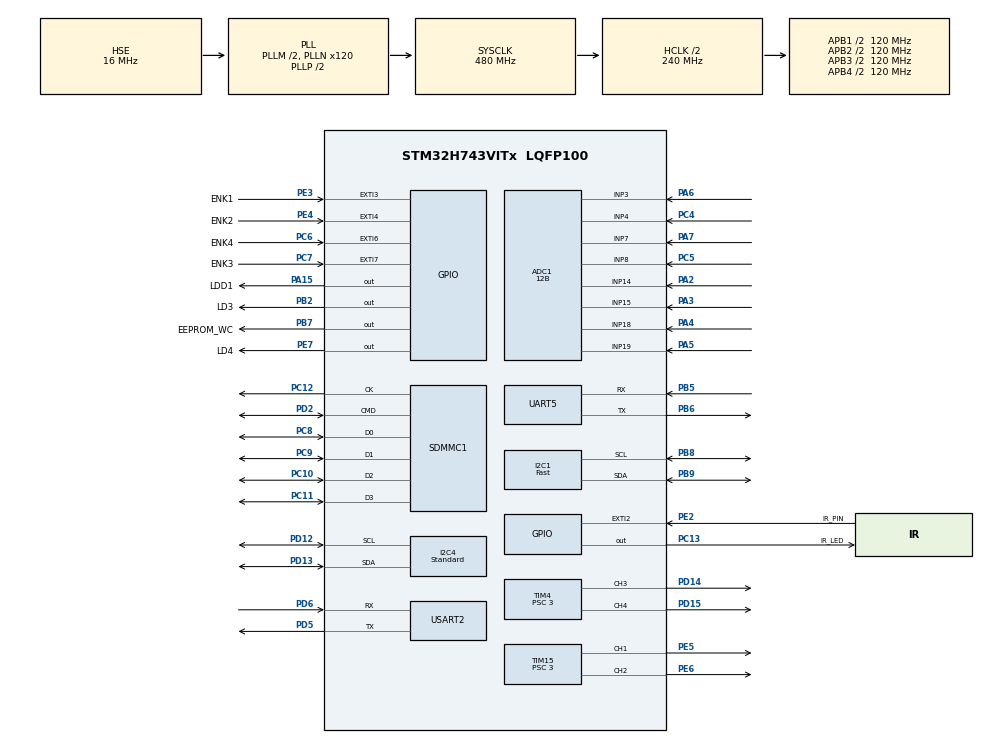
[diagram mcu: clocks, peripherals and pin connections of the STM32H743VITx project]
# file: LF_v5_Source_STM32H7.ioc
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ADC1.Channel-10\#ChannelRegularConversion=ADC_CHANNEL_18
ADC1.Channel-11\#ChannelRegularConversion=ADC_CHANNEL_19
ADC1.Channel-12\#ChannelRegularConversion=ADC_CHANNEL_3
ADC1.Channel-13\#ChannelRegularConversion=ADC_CHANNEL_7
ADC1.Channel-14\#ChannelRegularConversion=ADC_CHANNEL_4
ADC1.Channel-15\#ChannelRegularConversion=ADC_CHANNEL_8
ADC1.Channel-8\#ChannelRegularConversion=ADC_CHANNEL_14
ADC1.Channel-9\#ChannelRegularConversion=ADC_CHANNEL_15
ADC1.ClockPrescaler=ADC_CLOCK_ASYNC_DIV6
ADC1.ContinuousConvMode=ENABLE
ADC1.ConversionDataManagement=ADC_CONVERSIONDATA_DMA_CIRCULAR
ADC1.EnableInjectedConversion=ENABLE
ADC1.NbrOfConversion=8
ADC1.NbrOfConversionFlag=1
ADC1.OffsetNumber-10\#ChannelRegularConversion=ADC_OFFSET_NONE
ADC1.OffsetNumber-11\#ChannelRegularConversion=ADC_OFFSET_NONE
ADC1.OffsetNumber-12\#ChannelRegularConversion=ADC_OFFSET_NONE
ADC1.OffsetNumber-13\#ChannelRegularConversion=ADC_OFFSET_NONE
ADC1.OffsetNumber-14\#ChannelRegularConversion=ADC_OFFSET_NONE
ADC1.OffsetNumber-15\#ChannelRegularConversion=ADC_OFFSET_NONE
ADC1.OffsetNumber-8\#ChannelRegularConversion=ADC_OFFSET_NONE
ADC1.OffsetNumber-9\#ChannelRegularConversion=ADC_OFFSET_NONE
ADC1.Overrun=ADC_OVR_DATA_OVERWRITTEN
ADC1.OversamplingMode=DISABLE
ADC1.Rank-10\#ChannelRegularConversion=3
ADC1.Rank-11\#ChannelRegularConversion=4
ADC1.Rank-12\#ChannelRegularConversion=5
ADC1.Rank-13\#ChannelRegularConversion=6
ADC1.Rank-14\#ChannelRegularConversion=7
ADC1.Rank-15\#ChannelRegularConversion=8
ADC1.Rank-8\#ChannelRegularConversion=1
ADC1.Rank-9\#ChannelRegularConversion=2
ADC1.Resolution=ADC_RESOLUTION_12B
ADC1.SamplingTime-10\#ChannelRegularConversion=ADC_SAMPLETIME_16CYCLES_5
ADC1.SamplingTime-11\#ChannelRegularConversion=ADC_SAMPLETIME_16CYCLES_5
ADC1.SamplingTime-12\#ChannelRegularConversion=ADC_SAMPLETIME_16CYCLES_5
ADC1.SamplingTime-13\#ChannelRegularConversion=ADC_SAMPLETIME_16CYCLES_5
ADC1.SamplingTime-14\#ChannelRegularConversion=ADC_SAMPLETIME_16CYCLES_5
ADC1.SamplingTime-15\#ChannelRegularConversion=ADC_SAMPLETIME_16CYCLES_5
ADC1.SamplingTime-8\#ChannelRegularConversion=ADC_SAMPLETIME_16CYCLES_5
ADC1.SamplingTime-9\#ChannelRegularConversion=ADC_SAMPLETIME_16CYCLES_5
ADC1.master=1
CORTEX_M7.CPU_ICache=Disabled
Dma.ADC1.0.Direction=DMA_PERIPH_TO_MEMORY
Dma.ADC1.0.EventEnable=DISABLE
Dma.ADC1.0.FIFOMode=DMA_FIFOMODE_DISABLE
Dma.ADC1.0.Instance=DMA1_Stream0
Dma.ADC1.0.MemDataAlignment=DMA_MDATAALIGN_HALFWORD
Dma.ADC1.0.MemInc=DMA_MINC_ENABLE
Dma.ADC1.0.Mode=DMA_CIRCULAR
Dma.ADC1.0.PeriphDataAlignment=DMA_PDATAALIGN_HALFWORD
Dma.ADC1.0.PeriphInc=DMA_PINC_DISABLE
Dma.ADC1.0.Polarity=HAL_DMAMUX_REQ_GEN_RISING
Dma.ADC1.0.Priority=DMA_PRIORITY_LOW
Dma.ADC1.0.RequestNumber=1
Dma.ADC1.0.SignalID=NONE
Dma.ADC1.0.SyncEnable=DISABLE
Dma.ADC1.0.SyncPolarity=HAL_DMAMUX_SYNC_NO_EVENT
Dma.ADC1.0.SyncRequestNumber=1
Dma.ADC1.0.SyncSignalID=NONE
Dma.Request0=ADC1
Dma.Request1=USART2_RX
Dma.Request2=USART2_TX
Dma.USART2_RX.1.Direction=DMA_PERIPH_TO_MEMORY
Dma.USART2_RX.1.EventEnable=DISABLE
Dma.USART2_RX.1.FIFOMode=DMA_FIFOMODE_DISABLE
Dma.USART2_RX.1.Instance=DMA1_Stream1
Dma.USART2_RX.1.MemDataAlignment=DMA_MDATAALIGN_BYTE
Dma.USART2_RX.1.MemInc=DMA_MINC_ENABLE
Dma.USART2_RX.1.Mode=DMA_NORMAL
Dma.USART2_RX.1.PeriphDataAlignment=DMA_PDATAALIGN_BYTE
Dma.USART2_RX.1.PeriphInc=DMA_PINC_DISABLE
Dma.USART2_RX.1.Polarity=HAL_DMAMUX_REQ_GEN_RISING
Dma.USART2_RX.1.Priority=DMA_PRIORITY_LOW
Dma.USART2_RX.1.RequestNumber=1
Dma.USART2_RX.1.SignalID=NONE
Dma.USART2_RX.1.SyncEnable=DISABLE
Dma.USART2_RX.1.SyncPolarity=HAL_DMAMUX_SYNC_NO_EVENT
Dma.USART2_RX.1.SyncRequestNumber=1
Dma.USART2_RX.1.SyncSignalID=NONE
Dma.USART2_TX.2.Direction=DMA_MEMORY_TO_PERIPH
Dma.USART2_TX.2.EventEnable=DISABLE
Dma.USART2_TX.2.FIFOMode=DMA_FIFOMODE_DISABLE
Dma.USART2_TX.2.Instance=DMA1_Stream2
Dma.USART2_TX.2.MemDataAlignment=DMA_MDATAALIGN_BYTE
Dma.USART2_TX.2.MemInc=DMA_MINC_ENABLE
Dma.USART2_TX.2.Mode=DMA_NORMAL
Dma.USART2_TX.2.PeriphDataAlignment=DMA_PDATAALIGN_BYTE
Dma.USART2_TX.2.PeriphInc=DMA_PINC_DISABLE
Dma.USART2_TX.2.Polarity=HAL_DMAMUX_REQ_GEN_RISING
Dma.USART2_TX.2.Priority=DMA_PRIORITY_LOW
Dma.USART2_TX.2.RequestNumber=1
Dma.USART2_TX.2.SignalID=NONE
Dma.USART2_TX.2.SyncEnable=DISABLE
Dma.USART2_TX.2.SyncPolarity=HAL_DMAMUX_SYNC_NO_EVENT
Dma.USART2_TX.2.SyncRequestNumber=1
Dma.USART2_TX.2.SyncSignalID=NONE
I2C1.I2C_Speed_Mode=I2C_Fast
I2C1.Timing=0x00B03FDB
I2C4.I2C_Speed_Mode=I2C_Standard
I2C4.Timing=0x307075B1
Mcu.Family=STM32H7
Mcu.Name=STM32H743VITx
Mcu.Package=LQFP100
NVIC.DMA1_Stream0_IRQn=true\:0\:0\:false\:false\:true\:false\:true
NVIC.DMA1_Stream1_IRQn=true\:0\:0\:false\:false\:true\:false\:true
NVIC.DMA1_Stream2_IRQn=true\:0\:0\:false\:false\:true\:false\:true
NVIC.EXTI2_IRQn=true\:13\:0\:true\:false\:true\:true\:true
NVIC.EXTI3_IRQn=true\:14\:0\:true\:false\:true\:true\:true
NVIC.EXTI4_IRQn=true\:14\:0\:true\:false\:true\:true\:true
NVIC.EXTI9_5_IRQn=true\:14\:0\:true\:false\:true\:true\:true
NVIC.PriorityGroup=NVIC_PRIORITYGROUP_4
NVIC.TIM2_IRQn=true\:13\:0\:true\:false\:true\:true\:true
NVIC.TIM5_IRQn=true\:15\:0\:true\:false\:true\:true\:true
NVIC.UART5_IRQn=true\:15\:0\:true\:false\:true\:true\:true
NVIC.USART2_IRQn=true\:0\:0\:false\:false\:true\:true\:true
PA13\ (JTMS/SWDIO).Mode=Trace_Asynchronous_SW
PA13\ (JTMS/SWDIO).Signal=DEBUG_JTMS-SWDIO
PA14\ (JTCK/SWCLK).Mode=Trace_Asynchronous_SW
PA14\ (JTCK/SWCLK).Signal=DEBUG_JTCK-SWCLK
PA15\ (JTDI).GPIO_Label=LDD1
PA15\ (JTDI).GPIO_ModeDefaultOutputPP=GPIO_MODE_OUTPUT_OD
PA15\ (JTDI).PinState=GPIO_PIN_SET
PA15\ (JTDI).Signal=GPIO_Output
PA2.Signal=ADCx_INP14
PA3.Signal=ADCx_INP15
PA4.Signal=ADCx_INP18
PA5.Signal=ADCx_INP19
PA6.Signal=ADCx_INP3
PA7.Signal=ADCx_INP7
PB2.GPIO_Label=LD3
PB2.GPIO_ModeDefaultOutputPP=GPIO_MODE_OUTPUT_OD
PB2.PinState=GPIO_PIN_SET
PB2.Signal=GPIO_Output
PB3\ (JTDO/TRACESWO).Mode=Trace_Asynchronous_SW
PB3\ (JTDO/TRACESWO).Signal=DEBUG_JTDO-SWO
PB5.Mode=Asynchronous
PB5.Signal=UART5_RX
PB6.Mode=Asynchronous
PB6.Signal=UART5_TX
PB7.GPIO_Label=EEPROM_WC
PB7.PinState=GPIO_PIN_SET
PB7.Signal=GPIO_Output
PB8.GPIO_Pu=GPIO_PULLUP
PB8.Mode=I2C
PB8.Signal=I2C1_SCL
PB9.GPIO_Pu=GPIO_PULLUP
PB9.Mode=I2C
PB9.Signal=I2C1_SDA
PC10.Mode=SD_4_bits_Wide_bus
PC10.Signal=SDMMC1_D2
PC11.Mode=SD_4_bits_Wide_bus
PC11.Signal=SDMMC1_D3
PC12.Mode=SD_4_bits_Wide_bus
PC12.Signal=SDMMC1_CK
PC13.GPIO_Label=IR_LED
PC13.GPIO_ModeDefaultOutputPP=GPIO_MODE_OUTPUT_OD
PC13.PinState=GPIO_PIN_SET
PC13.Signal=GPIO_Output
PC4.Signal=ADCx_INP4
PC5.Signal=ADCx_INP8
PC6.GPIO_Label=ENK4
PC6.GPIO_ModeDefaultEXTI=GPIO_MODE_IT_RISING_FALLING
PC6.Signal=GPXTI6
PC7.GPIO_Label=ENK3
PC7.GPIO_ModeDefaultEXTI=GPIO_MODE_IT_RISING_FALLING
PC7.Signal=GPXTI7
PC8.Mode=SD_4_bits_Wide_bus
PC8.Signal=SDMMC1_D0
PC9.Mode=SD_4_bits_Wide_bus
PC9.Signal=SDMMC1_D1
PD12.GPIO_Pu=GPIO_PULLUP
PD12.Mode=I2C
PD12.Signal=I2C4_SCL
PD13.GPIO_Pu=GPIO_PULLUP
PD13.Mode=I2C
PD13.Signal=I2C4_SDA
PD14.Signal=S_TIM4_CH3
PD15.Signal=S_TIM4_CH4
PD2.Mode=SD_4_bits_Wide_bus
PD2.Signal=SDMMC1_CMD
PD5.Mode=Asynchronous
PD5.Signal=USART2_TX
PD6.Mode=Asynchronous
PD6.Signal=USART2_RX
PE2.GPIO_Label=IR_PIN
PE2.GPIO_ModeDefaultEXTI=GPIO_MODE_IT_FALLING
PE2.GPIO_PuPd=GPIO_NOPULL
PE2.Signal=GPXTI2
PE3.GPIO_Label=ENK1
PE3.GPIO_ModeDefaultEXTI=GPIO_MODE_IT_RISING_FALLING
PE3.Signal=GPXTI3
PE4.GPIO_Label=ENK2
PE4.GPIO_ModeDefaultEXTI=GPIO_MODE_IT_RISING_FALLING
PE4.Signal=GPXTI4
PE5.Signal=S_TIM15_CH1
PE6.Signal=S_TIM15_CH2
PE7.GPIO_Label=LD4
PE7.GPIO_ModeDefaultOutputPP=GPIO_MODE_OUTPUT_OD
PE7.PinState=GPIO_PIN_SET
PE7.Signal=GPIO_Output
PH0-OSC_IN\ (PH0).Mode=HSE-External-Oscillator
PH0-OSC_IN\ (PH0).Signal=RCC_OSC_IN
PH1-OSC_OUT\ (PH1).Mode=HSE-External-Oscillator
PH1-OSC_OUT\ (PH1).Signal=RCC_OSC_OUT
ProjectManager.HeapSize=0x200
ProjectManager.StackSize=0x400
ProjectManager.TargetToolchain=STM32CubeIDE
RCC.ADCCLockSelection=RCC_ADCCLKSOURCE_CLKP
RCC.ADCFreq_Value=64000000
RCC.APB1Freq_Value=120000000
RCC.APB2Freq_Value=120000000
RCC.APB3Freq_Value=120000000
RCC.APB4Freq_Value=120000000
RCC.CortexFreq_Value=480000000
RCC.D1PPRE=RCC_APB3_DIV2
RCC.D2PPRE1=RCC_APB1_DIV2
RCC.D2PPRE2=RCC_APB2_DIV2
RCC.D3PPRE=RCC_APB4_DIV2
RCC.DIVM1=2
RCC.DIVM2=2
RCC.DIVN1=120
RCC.DIVN2=120
RCC.DIVP2=8
RCC.DIVQ1=8
RCC.DIVQ2=8
RCC.DIVR1=8
RCC.DIVR2=8
RCC.HCLKFreq_Value=240000000
RCC.HPRE=RCC_HCLK_DIV2
RCC.HSE_VALUE=16000000
RCC.PLLSourceVirtual=RCC_PLLSOURCE_HSE
RCC.SYSCLKFreq_VALUE=480000000
RCC.SYSCLKSource=RCC_SYSCLKSOURCE_PLLCLK
RCC.USBFreq_Value=120000000
SH.ADCx_INP14.0=ADC1_INP14,IN14-Single-Ended
SH.ADCx_INP15.0=ADC1_INP15,IN15-Single-Ended
SH.ADCx_INP18.0=ADC1_INP18,IN18-Single-Ended
SH.ADCx_INP19.0=ADC1_INP19,IN19-Single-Ended
SH.ADCx_INP3.0=ADC1_INP3,IN3-Single-Ended
SH.ADCx_INP4.0=ADC1_INP4,IN4-Single-Ended
SH.ADCx_INP7.0=ADC1_INP7,IN7-Single-Ended
SH.ADCx_INP8.0=ADC1_INP8,IN8-Single-Ended
SH.S_TIM15_CH1.0=TIM15_CH1,PWM Generation1 CH1
SH.S_TIM15_CH2.0=TIM15_CH2,PWM Generation2 CH2
SH.S_TIM4_CH3.0=TIM4_CH3,PWM Generation3 CH3
SH.S_TIM4_CH4.0=TIM4_CH4,PWM Generation4 CH4
TIM15.Channel-PWM\ Generation1\ CH1=TIM_CHANNEL_1
TIM15.Channel-PWM\ Generation2\ CH2=TIM_CHANNEL_2
TIM15.Period=1000
TIM15.Prescaler=3
TIM2.Period=101
TIM2.Prescaler=239
TIM4.Channel-PWM\ Generation3\ CH3=TIM_CHANNEL_3
TIM4.Channel-PWM\ Generation4\ CH4=TIM_CHANNEL_4
TIM4.Period=1000
TIM4.Prescaler=3
TIM5.Period=10000
TIM5.Prescaler=240
USART2.VirtualMode-Asynchronous=VM_ASYNC
VP_TIM15_VS_ClockSourceINT.Mode=Internal
VP_TIM2_VS_ClockSourceINT.Mode=Internal
VP_TIM5_VS_ClockSourceINT.Mode=Internal
board=custom

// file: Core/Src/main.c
/* USER CODE BEGIN Header */
/**
  ******************************************************************************
  * @file           : main.c
  * @brief          : Main program body
  ******************************************************************************
  * @attention
  *
  * <h2><center>&copy; Copyright (c) 2020 STMicroelectronics.
  * All rights reserved.</center></h2>
  *
  * This software component is licensed by ST under BSD 3-Clause license,
  * the "License"; You may not use this file except in compliance with the
  * License. You may obtain a copy of the License at:
  *                        opensource.org/licenses/BSD-3-Clause
  *
  ******************************************************************************
  */
/* USER CODE END Header */
#include "main.h"
#include "adc.h"
#include "dma.h"
#include "i2c.h"
#include "sdmmc.h"
#include "tim.h"
#include "usart.h"
#include "gpio.h"

/* USER CODE BEGIN Includes */
#include "HM10_BleModule.h"
#include "LF_AppMain.h"
#include "Encoders_Module.h"

#include <stdio.h>

/* USER CODE END Includes */

void SystemClock_Config(void);
void PeriphCommonClock_Config(void);

/* USER CODE BEGIN 0 */

void HAL_UARTEx_RxEventCallback(UART_HandleTypeDef *huart, uint16_t Size)
{
	// Check if UART2 trigger the Callback
	if(huart->Instance == USART2)
	{
		// Start listening again
		HAL_UARTEx_ReceiveToIdle_DMA(&huart2, HM10BLE_App.ReceiveBuffer, ReceiveBufferSize);
		HM10BLE_RxEventCallback(Size); //Application/Src/HM10_BleModule.c
	}
}

void HAL_UART_TxCpltCallback(UART_HandleTypeDef *huart)
{
	// Check if UART2 triggered the Callback
	if(huart->Instance == USART2)
	{
		HM10BLE_TxCmpltEventCallback(); //Application/Src/HM10_BleModule.c
	}
}

void HAL_GPIO_EXTI_Callback(uint16_t GPIO_Pin)
{
	Enc_AddEncoderImpulsIntoImpulsSum(GPIO_Pin); //Application/Src/Encoders_Module.c
}

/* USER CODE END 0 */

int main(void)
{

  /* MCU Configuration--------------------------------------------------------*/

  /* Reset of all peripherals, Initializes the Flash interface and the Systick. */
  HAL_Init();

  /* Configure the system clock */
  SystemClock_Config();

/* Configure the peripherals common clocks */
  PeriphCommonClock_Config();

  /* Initialize all configured peripherals */
  MX_GPIO_Init();
  MX_DMA_Init();
  MX_SDMMC1_SD_Init();
  MX_ADC1_Init();
  MX_TIM15_Init();
  MX_TIM4_Init();
  MX_I2C4_Init();
  MX_USART2_UART_Init();
  MX_UART5_Init();
  MX_TIM2_Init();
  MX_I2C1_Init();
  MX_TIM5_Init();
  /* USER CODE BEGIN 2 */
  //Activate 100usTimer
  LL_TIM_EnableIT_CC1(TIM2);
  LL_TIM_EnableCounter(TIM2);

  LF_App_MainConfig(); //Application/Src/LF_AppMain
  /* USER CODE END 2 */

  /* Infinite loop */
  /* USER CODE BEGIN WHILE */
  while (1)
  {
	  LF_App_MainTask(); //Application/Src/LF_AppMain
    /* USER CODE END WHILE */

  }
}

void SystemClock_Config(void)
{
  RCC_OscInitTypeDef RCC_OscInitStruct = {0};
  RCC_ClkInitTypeDef RCC_ClkInitStruct = {0};

  /** Supply configuration update enable
  */
  HAL_PWREx_ConfigSupply(PWR_LDO_SUPPLY);
  /** Configure the main internal regulator output voltage
  */
  __HAL_PWR_VOLTAGESCALING_CONFIG(PWR_REGULATOR_VOLTAGE_SCALE0);

  while(!__HAL_PWR_GET_FLAG(PWR_FLAG_VOSRDY)) {}
  /** Initializes the RCC Oscillators according to the specified parameters
  * in the RCC_OscInitTypeDef structure.
  */
  RCC_OscInitStruct.OscillatorType = RCC_OSCILLATORTYPE_HSI|RCC_OSCILLATORTYPE_HSE;
  RCC_OscInitStruct.HSEState = RCC_HSE_ON;
  RCC_OscInitStruct.HSIState = RCC_HSI_DIV1;
  RCC_OscInitStruct.HSICalibrationValue = RCC_HSICALIBRATION_DEFAULT;
  RCC_OscInitStruct.PLL.PLLState = RCC_PLL_ON;
  RCC_OscInitStruct.PLL.PLLSource = RCC_PLLSOURCE_HSE;
  RCC_OscInitStruct.PLL.PLLM = 2;
  RCC_OscInitStruct.PLL.PLLN = 120;
  RCC_OscInitStruct.PLL.PLLP = 2;
  RCC_OscInitStruct.PLL.PLLQ = 8;
  RCC_OscInitStruct.PLL.PLLR = 8;
  RCC_OscInitStruct.PLL.PLLRGE = RCC_PLL1VCIRANGE_3;
  RCC_OscInitStruct.PLL.PLLVCOSEL = RCC_PLL1VCOWIDE;
  RCC_OscInitStruct.PLL.PLLFRACN = 0;
  if (HAL_RCC_OscConfig(&RCC_OscInitStruct) != HAL_OK)
  {
    Error_Handler();
  }
  /** Initializes the CPU, AHB and APB buses clocks
  */
  RCC_ClkInitStruct.ClockType = RCC_CLOCKTYPE_HCLK|RCC_CLOCKTYPE_SYSCLK
                              |RCC_CLOCKTYPE_PCLK1|RCC_CLOCKTYPE_PCLK2
                              |RCC_CLOCKTYPE_D3PCLK1|RCC_CLOCKTYPE_D1PCLK1;
  RCC_ClkInitStruct.SYSCLKSource = RCC_SYSCLKSOURCE_PLLCLK;
  RCC_ClkInitStruct.SYSCLKDivider = RCC_SYSCLK_DIV1;
  RCC_ClkInitStruct.AHBCLKDivider = RCC_HCLK_DIV2;
  RCC_ClkInitStruct.APB3CLKDivider = RCC_APB3_DIV2;
  RCC_ClkInitStruct.APB1CLKDivider = RCC_APB1_DIV2;
  RCC_ClkInitStruct.APB2CLKDivider = RCC_APB2_DIV2;
  RCC_ClkInitStruct.APB4CLKDivider = RCC_APB4_DIV2;

  if (HAL_RCC_ClockConfig(&RCC_ClkInitStruct, FLASH_LATENCY_4) != HAL_OK)
  {
    Error_Handler();
  }
}

void PeriphCommonClock_Config(void)
{
  RCC_PeriphCLKInitTypeDef PeriphClkInitStruct = {0};

  /** Initializes the peripherals clock
  */
  PeriphClkInitStruct.PeriphClockSelection = RCC_PERIPHCLK_CKPER;
  PeriphClkInitStruct.CkperClockSelection = RCC_CLKPSOURCE_HSI;
  if (HAL_RCCEx_PeriphCLKConfig(&PeriphClkInitStruct) != HAL_OK)
  {
    Error_Handler();
  }
}

void Error_Handler(void)
{
}

/************************ (C) COPYRIGHT STMicroelectronics *****END OF FILE****/
